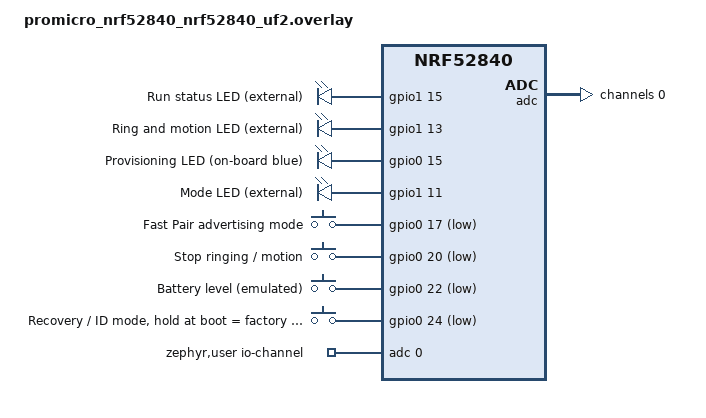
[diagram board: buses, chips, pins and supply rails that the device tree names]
/*
 * nice!nano v2 wiring for the locator tag DK UI.
 * The sample expects 4 buttons and 4 LEDs; their order here is DK_BTN1..4 / DK_LED1..4.
 * Buttons: momentary switch from the pin to GND. Only BTN1 is needed for discovery.
 * LEDs: LED3 is the on-board blue LED (provisioning / Fast Pair advertising blink);
 * the rest are optional external LEDs (pin -> resistor -> LED -> GND).
 */

#include <zephyr/dt-bindings/gpio/gpio.h>
#include <zephyr/dt-bindings/adc/adc.h>
#include <zephyr/dt-bindings/adc/nrf-saadc.h>

/ {
	/delete-node/ leds;

	leds {
		compatible = "gpio-leds";
		run_led: led_1 {
			gpios = <&gpio1 15 GPIO_ACTIVE_HIGH>;
			label = "Run status LED (external)";
		};
		ring_led: led_2 {
			gpios = <&gpio1 13 GPIO_ACTIVE_HIGH>;
			label = "Ring and motion LED (external)";
		};
		provisioning_led: led_3 {
			gpios = <&gpio0 15 GPIO_ACTIVE_HIGH>;
			label = "Provisioning LED (on-board blue)";
		};
		mode_led: led_4 {
			gpios = <&gpio1 11 GPIO_ACTIVE_HIGH>;
			label = "Mode LED (external)";
		};
	};

	buttons {
		compatible = "gpio-keys";
		fp_adv_button: button_1 {
			gpios = <&gpio0 17 (GPIO_PULL_UP | GPIO_ACTIVE_LOW)>;
			label = "Fast Pair advertising mode";
		};
		ring_button: button_2 {
			gpios = <&gpio0 20 (GPIO_PULL_UP | GPIO_ACTIVE_LOW)>;
			label = "Stop ringing / motion";
		};
		battery_button: button_3 {
			gpios = <&gpio0 22 (GPIO_PULL_UP | GPIO_ACTIVE_LOW)>;
			label = "Battery level (emulated)";
		};
		mode_button: button_4 {
			gpios = <&gpio0 24 (GPIO_PULL_UP | GPIO_ACTIVE_LOW)>;
			label = "Recovery / ID mode, hold at boot = factory reset";
		};
	};

	aliases {
		led0 = &provisioning_led;
		mcuboot-led0 = &provisioning_led;
	};

	/* Battery sensing: the battery module reads this channel. On the nice!nano v2
	 * the LiPo feeds VDDH, so we sample the SoC-internal VDDHDIV5 input (VDDH / 5) —
	 * no external divider, pin or enable GPIO needed. */
	zephyr,user {
		io-channels = <&adc 0>;
	};
};

&adc {
	status = "okay";
	#address-cells = <1>;
	#size-cells = <0>;

	channel@0 {
		reg = <0>;
		zephyr,gain = "ADC_GAIN_1_6";
		zephyr,reference = "ADC_REF_INTERNAL";
		zephyr,acquisition-time = <ADC_ACQ_TIME_DEFAULT>;
		zephyr,input-positive = <NRF_SAADC_VDDHDIV5>;
		zephyr,resolution = <12>;
		zephyr,oversampling = <4>;
	};
};
